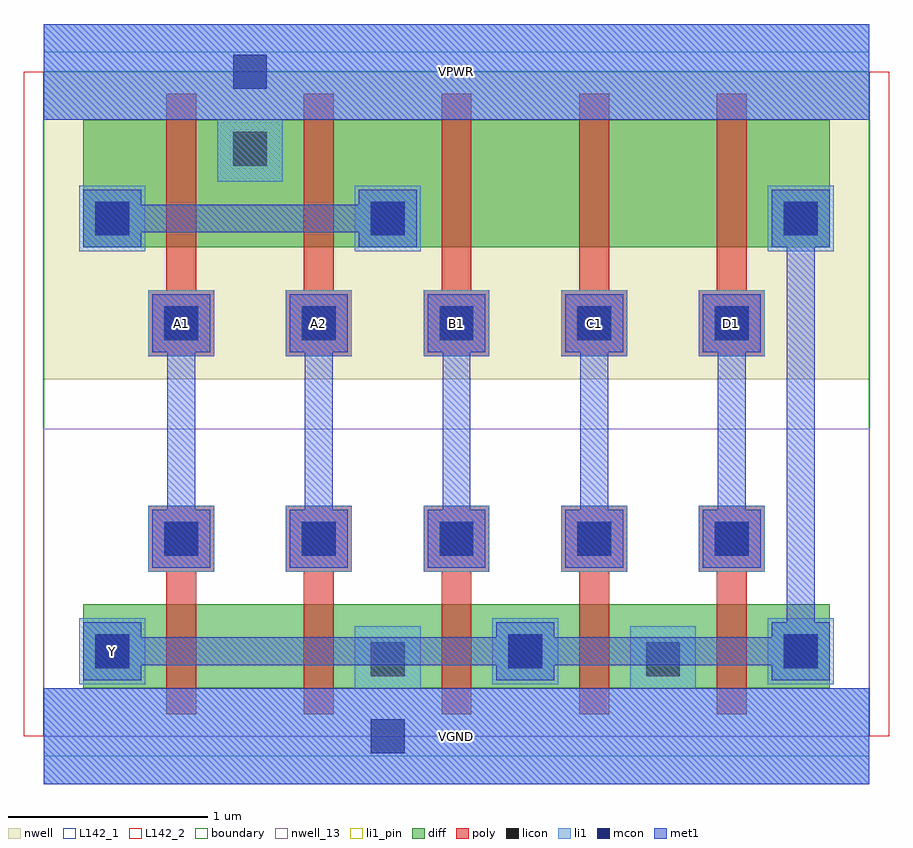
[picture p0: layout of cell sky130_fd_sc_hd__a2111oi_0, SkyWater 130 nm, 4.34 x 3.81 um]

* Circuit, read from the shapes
.subckt sky130_fd_sc_hd__a2111oi_0 A1 A2 B1 C1 D1 VGND VPWR Y
XM1 n1 A1 Y VSUBS sky130_fd_pr__nfet_01v8 w=0.42 l=0.15
XM2 VGND A2 n1 VSUBS sky130_fd_pr__nfet_01v8 w=0.42 l=0.15
XM3 Y B1 VGND VSUBS sky130_fd_pr__nfet_01v8 w=0.42 l=0.15
XM4 VGND C1 Y VSUBS sky130_fd_pr__nfet_01v8 w=0.42 l=0.15
XM5 Y D1 VGND VSUBS sky130_fd_pr__nfet_01v8 w=0.42 l=0.15
XM6 VPWR A1 n2 n3 sky130_fd_pr__pfet_01v8 w=0.64 l=0.15
XM7 n2 A2 VPWR n3 sky130_fd_pr__pfet_01v8 w=0.64 l=0.15
XM8 n4 B1 n2 n3 sky130_fd_pr__pfet_01v8 w=0.64 l=0.15
XM9 n5 C1 n4 n3 sky130_fd_pr__pfet_01v8 w=0.64 l=0.15
XM10 Y D1 n5 n3 sky130_fd_pr__pfet_01v8 w=0.64 l=0.15
.ends

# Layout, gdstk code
import gdstk
lib = gdstk.Library(unit=1e-6, precision=1e-09)
def R(c, l, rs):  # rectangles x0, y0, x1, y1
    for r in rs: c.add(gdstk.rectangle(r[:2], r[2:], *l))
def A(c, l, x, y, w, h, nx, ny, dx, dy):  # array of equal rectangles
    R(c, l, [(x+i*dx, y+j*dy, x+i*dx+w, y+j*dy+h) for i in range(nx) for j in range(ny)])
def P(c, l, *ps):  # polygons
    for p in ps: c.add(gdstk.Polygon(p, *l))
nwell_13 = (64, 13)
nwell = (64, 20)
diff = (65, 20)
poly = (66, 20)
licon = (66, 44)
li1_pin = (67, 16)
li1 = (67, 20)
mcon = (67, 44)
met1 = (68, 20)
L142_1 = (142, 1)
L142_2 = (142, 2)
boundary = (235, 4)

sky130_fd_sc_hd__a2111oi = lib.new_cell('sky130_fd_sc_hd__a2111oi_0')
R(sky130_fd_sc_hd__a2111oi, nwell_13, [(0,0,4.14,1.54)])
R(sky130_fd_sc_hd__a2111oi, nwell, [(0,1.79,4.14,3.33)])
A(sky130_fd_sc_hd__a2111oi, diff, 0.615, 0.24, 0.69, 0.42, 4, 1, 0.69, 0)
A(sky130_fd_sc_hd__a2111oi, diff, 0.615, 2.45, 0.69, 0.64, 4, 1, 0.69, 0)
R(sky130_fd_sc_hd__a2111oi, diff, [(0.2,0.24,3.94,0.66), (0.2,0.24,0.615,0.66), (3.375,0.24,3.94,0.66), (0.2,2.45,3.94,3.09), (0.2,2.45,0.615,3.09), (3.375,2.45,3.94,3.09)])
P(sky130_fd_sc_hd__a2111oi, poly, [(1.305,0.11),(1.305,0.825),(1.215,0.825),(1.215,1.155),(1.545,1.155),(1.545,0.825),(1.455,0.825),(1.455,0.11)],
  [(1.215,1.905),(1.215,2.235),(1.305,2.235),(1.305,3.22),(1.455,3.22),(1.455,2.235),(1.545,2.235),(1.545,1.905)],
  [(0.615,0.11),(0.615,0.825),(0.525,0.825),(0.525,1.155),(0.855,1.155),(0.855,0.825),(0.765,0.825),(0.765,0.11)],
  [(0.525,1.905),(0.525,2.235),(0.615,2.235),(0.615,3.22),(0.765,3.22),(0.765,2.235),(0.855,2.235),(0.855,1.905)],
  [(2.685,0.11),(2.685,0.825),(2.595,0.825),(2.595,1.155),(2.925,1.155),(2.925,0.825),(2.835,0.825),(2.835,0.11)],
  [(2.595,1.905),(2.595,2.235),(2.685,2.235),(2.685,3.22),(2.835,3.22),(2.835,2.235),(2.925,2.235),(2.925,1.905)],
  [(1.995,0.11),(1.995,0.825),(1.905,0.825),(1.905,1.155),(2.235,1.155),(2.235,0.825),(2.145,0.825),(2.145,0.11)],
  [(1.905,1.905),(1.905,2.235),(1.995,2.235),(1.995,3.22),(2.145,3.22),(2.145,2.235),(2.235,2.235),(2.235,1.905)],
  [(3.375,0.11),(3.375,0.825),(3.285,0.825),(3.285,1.155),(3.615,1.155),(3.615,0.825),(3.525,0.825),(3.525,0.11)],
  [(3.285,1.905),(3.285,2.235),(3.375,2.235),(3.375,3.22),(3.525,3.22),(3.525,2.235),(3.615,2.235),(3.615,1.905)])
A(sky130_fd_sc_hd__a2111oi, licon, 0.605, 0.905, 0.17, 0.17, 5, 2, 0.69, 1.08)
R(sky130_fd_sc_hd__a2111oi, licon, [(1.64,0.3,1.81,0.47), (3.02,0.3,3.19,0.47), (0.26,0.34,0.43,0.51), (2.33,0.34,2.5,0.51), (3.71,0.34,3.88,0.51), (0.26,2.51,0.43,2.68), (1.64,2.51,1.81,2.68), (3.71,2.51,3.88,2.68), (0.95,2.86,1.12,3.03)])
A(sky130_fd_sc_hd__a2111oi, li1_pin, 0.525, 1.905, 0.33, 0.33, 5, 1, 0.69, 0)
R(sky130_fd_sc_hd__a2111oi, li1_pin, [(0,-0.24,4.14,0.24), (0.18,0.26,0.51,0.59), (0,3.09,4.14,3.57)])
A(sky130_fd_sc_hd__a2111oi, li1, 0.525, 0.825, 0.33, 0.33, 5, 2, 0.69, 1.08)
R(sky130_fd_sc_hd__a2111oi, li1, [(0.18,0.26,0.51,0.59), (2.25,0.26,2.58,0.59), (3.63,0.26,3.96,0.59), (0.18,2.43,0.51,2.76), (1.56,2.43,1.89,2.76), (3.63,2.43,3.96,2.76)])
P(sky130_fd_sc_hd__a2111oi, li1, [(0.87,2.78),(0.87,3.09),(0,3.09),(0,3.57),(4.14,3.57),(4.14,3.09),(1.2,3.09),(1.2,2.78)],
  [(0,-0.24),(0,0.24),(1.56,0.24),(1.56,0.55),(1.89,0.55),(1.89,0.24),(2.94,0.24),(2.94,0.55),(3.27,0.55),(3.27,0.24),(4.14,0.24),(4.14,-0.24)])
A(sky130_fd_sc_hd__a2111oi, mcon, 0.605, 0.905, 0.17, 0.17, 5, 2, 0.69, 1.08)
R(sky130_fd_sc_hd__a2111oi, mcon, [(1.64,-0.085,1.81,0.085), (0.26,0.34,0.43,0.51), (2.33,0.34,2.5,0.51), (3.71,0.34,3.88,0.51), (0.26,2.51,0.43,2.68), (1.64,2.51,1.81,2.68), (3.71,2.51,3.88,2.68), (0.95,3.245,1.12,3.415)])
R(sky130_fd_sc_hd__a2111oi, met1, [(0,-0.24,4.14,0.24), (0,3.09,4.14,3.57)])
P(sky130_fd_sc_hd__a2111oi, met1, [(0.2,0.28),(0.2,0.57),(0.49,0.57),(0.49,0.495),(2.27,0.495),(2.27,0.57),(2.56,0.57),(2.56,0.495),(3.65,0.495),(3.65,0.57),(3.725,0.57),(3.725,2.45),(3.65,2.45),(3.65,2.74),(3.94,2.74),(3.94,2.45),(3.865,2.45),(3.865,0.57),(3.94,0.57),(3.94,0.28),(3.65,0.28),(3.65,0.355),(2.56,0.355),(2.56,0.28),(2.27,0.28),(2.27,0.355),(0.49,0.355),(0.49,0.28)],
  [(1.235,0.845),(1.235,1.135),(1.31,1.135),(1.31,1.925),(1.235,1.925),(1.235,2.215),(1.525,2.215),(1.525,1.925),(1.45,1.925),(1.45,1.135),(1.525,1.135),(1.525,0.845)],
  [(0.545,0.845),(0.545,1.135),(0.62,1.135),(0.62,1.925),(0.545,1.925),(0.545,2.215),(0.835,2.215),(0.835,1.925),(0.76,1.925),(0.76,1.135),(0.835,1.135),(0.835,0.845)],
  [(0.2,2.45),(0.2,2.74),(0.49,2.74),(0.49,2.665),(1.58,2.665),(1.58,2.74),(1.87,2.74),(1.87,2.45),(1.58,2.45),(1.58,2.525),(0.49,2.525),(0.49,2.45)],
  [(2.615,0.845),(2.615,1.135),(2.69,1.135),(2.69,1.925),(2.615,1.925),(2.615,2.215),(2.905,2.215),(2.905,1.925),(2.83,1.925),(2.83,1.135),(2.905,1.135),(2.905,0.845)],
  [(1.925,0.845),(1.925,1.135),(2,1.135),(2,1.925),(1.925,1.925),(1.925,2.215),(2.215,2.215),(2.215,1.925),(2.14,1.925),(2.14,1.135),(2.215,1.135),(2.215,0.845)],
  [(3.305,0.845),(3.305,1.135),(3.38,1.135),(3.38,1.925),(3.305,1.925),(3.305,2.215),(3.595,2.215),(3.595,1.925),(3.52,1.925),(3.52,1.135),(3.595,1.135),(3.595,0.845)])
R(sky130_fd_sc_hd__a2111oi, L142_1, [(0,-0.1,4.14,0), (0,3.33,4.14,3.43)])
R(sky130_fd_sc_hd__a2111oi, L142_2, [(-0.1,0,0,3.33), (4.14,0,4.24,3.33)])
R(sky130_fd_sc_hd__a2111oi, boundary, [(0,0,4.14,3.33)])
sky130_fd_sc_hd__a2111oi.add(gdstk.Label('Y', (0.345,0.425), layer=67, texttype=5))
sky130_fd_sc_hd__a2111oi.add(gdstk.Label('C1', (2.76,2.07), layer=67, texttype=5))
sky130_fd_sc_hd__a2111oi.add(gdstk.Label('B1', (2.07,2.07), layer=67, texttype=5))
sky130_fd_sc_hd__a2111oi.add(gdstk.Label('A2', (1.38,2.07), layer=67, texttype=5))
sky130_fd_sc_hd__a2111oi.add(gdstk.Label('A1', (0.69,2.07), layer=67, texttype=5))
sky130_fd_sc_hd__a2111oi.add(gdstk.Label('D1', (3.45,2.07), layer=67, texttype=5))
sky130_fd_sc_hd__a2111oi.add(gdstk.Label('VGND', (2.07,0), layer=67, texttype=5))
sky130_fd_sc_hd__a2111oi.add(gdstk.Label('VPWR', (2.07,3.33), layer=67, texttype=5))
sky130_fd_sc_hd__a2111oi.add(gdstk.Label('VGND', (2.07,0), layer=68, texttype=5))
sky130_fd_sc_hd__a2111oi.add(gdstk.Label('VPWR', (2.07,3.33), layer=68, texttype=5))

lib.write_gds('sky130_fd_sc_hd__a2111oi_0.gds')
